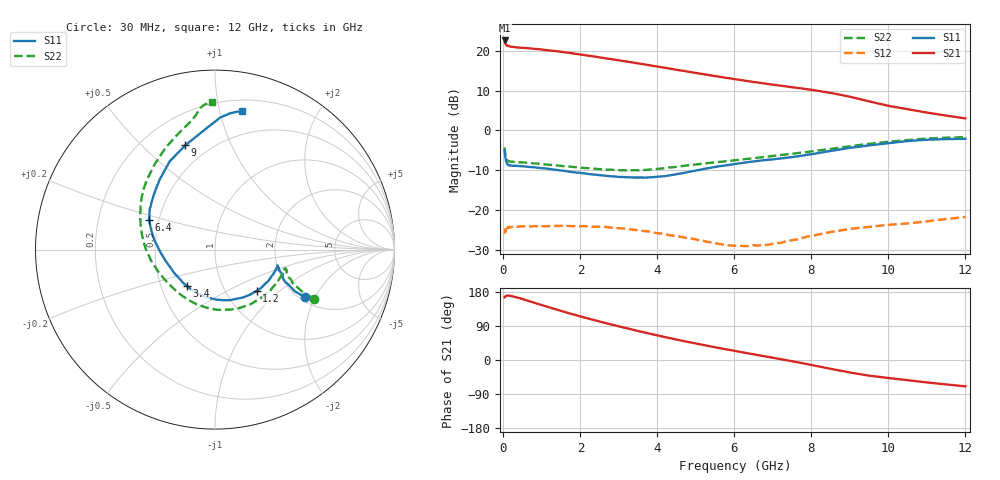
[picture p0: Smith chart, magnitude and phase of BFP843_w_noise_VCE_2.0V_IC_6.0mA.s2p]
! Infineon Technologies  Discrete & RF Semiconductors
! BFP843
! VCE =  2.0 V,  IC =  6.0 mA
! Common Emitter S-Parameters:  Aug 2013
# GHz  S  MA  R  50
!  f  S11  S21  S12  S22
! GHz  MAG  ANG  MAG  ANG  MAG  ANG  MAG  ANG
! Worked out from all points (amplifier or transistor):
!   103 points, 30 MHz to 12 GHz, reference 50 ohm
!   highest |S21| = 22.6 dB at 30 MHz (marker M1)
!   |S21| within 3 dB of that: start of sweep to 1.61 GHz
!   unconditionally stable (mu >= 1): 168.7 MHz to 10.89 GHz
!   at 400 MHz: K = 1.01, MAG = 21.8 dB, |S12| = -24.2 dB
!   at 3.7 GHz: K = 1.27, MAG = 17.8 dB, |S12| = -25.3 dB
!   at 12 GHz: K = 0.82, MSG = 12.4 dB, |S12| = -21.8 dB
!   lowest NFmin = 0.92 dB at 450 MHz
!   S11 on the Smith chart (normalised r, x): 30 MHz: 2.12, -1.67; 1.2 GHz: 1.39, -0.72; 3.4 GHz: 0.68, -0.29; 6.4 GHz: 0.44, +0.18; 9 GHz: 0.37, +0.69; 12 GHz: 0.29, +1.17
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0.03  0.5679 -28.0  13.53 165.5  0.0504 32.9  0.6131 -26.4
0.04  0.4988 -27.5  12.8 166.2  0.0554 24.4  0.5447 -25.9
0.05  0.4568 -25.6  12.4 168.3  0.053 21.7  0.4987 -24.4
0.07  0.4058 -22.2  11.86 169.3  0.0605 14.7  0.4534 -21.4
0.13  0.37 -16.2  11.53 170.2  0.0606 9.5  0.4113 -15.7
0.2  0.3613 -14.3  11.26 169.0  0.0606 5.6  0.4044 -14.8
0.7  0.3468 -27.2  10.73 154.3  0.0621 -1.3  0.3892 -29.5
1.2  0.3274 -44.7  10.13 138.6  0.0629 -4.5  0.3694 -49.0
1.7  0.3035 -63.1  9.473 123.5  0.063 -8.2  0.3519 -68.3
2.1  0.2885 -78.2  8.86 112.2  0.0629 -11.5  0.3376 -83.9
2.4  0.2777 -89.6  8.443 104.2  0.0615 -13.6  0.3297 -95.0
2.8  0.2651 -104.9  7.884 93.8  0.06 -17.4  0.3209 -109.7
3.4  0.256 -128.2  7.09 79.0  0.0564 -21.5  0.3164 -131.8
4.1  0.2641 -153.9  6.233 62.7  0.0506 -25.8  0.3322 -154.6
5  0.3132 179.5  5.281 43.5  0.0427 -25.4  0.3738 -176.0
6.1  0.3845 159.8  4.355 22.3  0.0355 -14.5  0.4266 164.6
6.4  0.4027 155.6  4.133 16.7  0.0354 -9.0  0.443 159.7
7.6  0.4699 134.7  3.444 -5.2  0.0423 4.5  0.5161 140.8
8.5  0.5527 117.2  2.965 -23.2  0.0529 5.7  0.5851 124.7
9  0.6041 105.9  2.656 -33.0  0.0579 2.6  0.6333 115.4
10.5  0.7366 87.7  1.85 -53.3  0.0678 -3.4  0.7564 98.1
12  0.7847 78.8  1.418 -69.4  0.0817 -10.4  0.8232 91.1
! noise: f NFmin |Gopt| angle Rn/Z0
0.45  0.92  0.15  7  0
0.9  0.93  0.15  17  0.03
1.5  0.96  0.15  27  0.1
1.9  0.99  0.13  40  0.18
2.4  1.03  0.11  49  0.25
3.5  1.1  0.09  63  0.29
5.5  1.25  0.14  -148  0.37
10  1.97  0.51  -72  0.43
